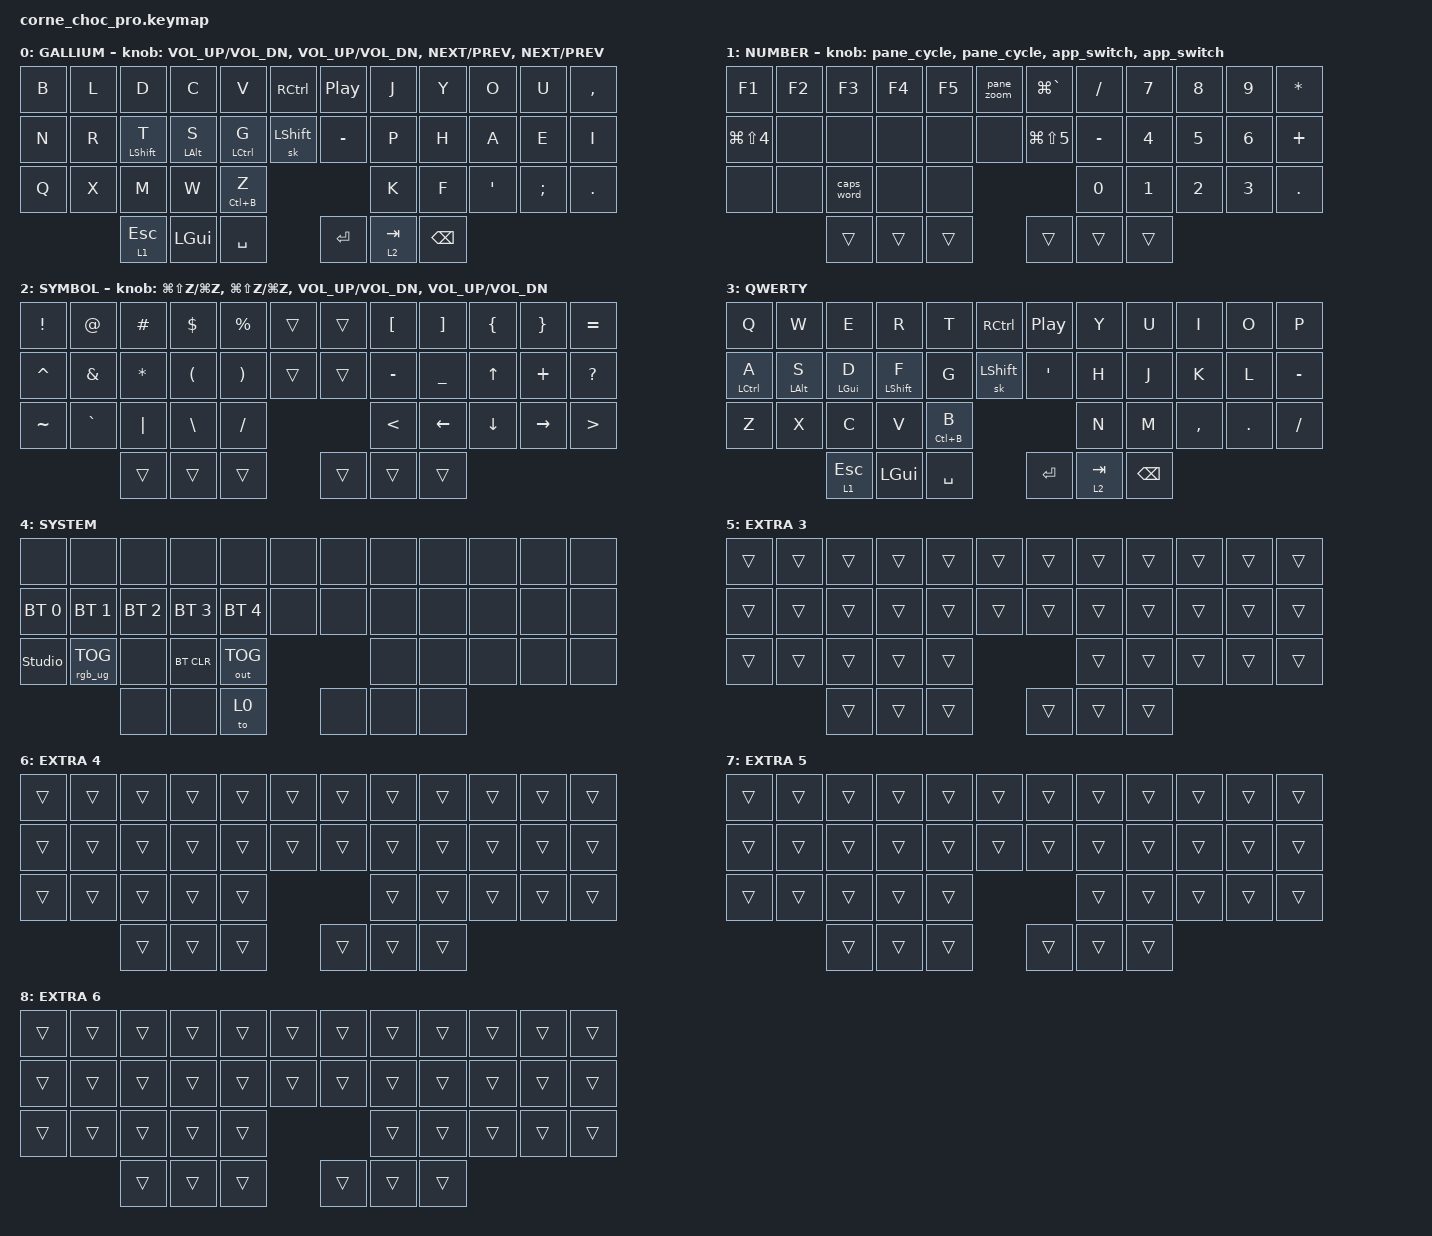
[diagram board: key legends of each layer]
/*
 * Copyright (c) 2020 The ZMK Contributors
 *
 * SPDX-License-Identifier: MIT
 */

#include <behaviors.dtsi>
#include <dt-bindings/zmk/keys.h>
#include <dt-bindings/zmk/bt.h>
#include <dt-bindings/zmk/rgb.h>
#include <dt-bindings/zmk/outputs.h>

/ {
    chosen {
        zmk,physical-layout = &five_col_layout;
    };
};

/ {
    behaviors {
        // Home-row mods. Tap = the letter, hold = the modifier.
        // require-prior-idle-ms is the anti-misfire setting: mid-word the hold
        // is ignored entirely, so fast typing can't trip a modifier.
        hm: homerow_mods {
            compatible = "zmk,behavior-hold-tap";
            #binding-cells = <2>;
            flavor = "balanced";
            tapping-term-ms = <200>;
            quick-tap-ms = <175>;
            require-prior-idle-ms = <125>;
            bindings = <&kp>, <&kp>;
        };

        // Hold B to send the tmux/herdr prefix. tap-preferred means the hold
        // only fires after the full term even if another key is pressed, so
        // rolling through B while typing stays a plain letter.
        pfx: prefix_hold_tap {
            compatible = "zmk,behavior-hold-tap";
            #binding-cells = <2>;
            flavor = "tap-preferred";
            tapping-term-ms = <250>;
            quick-tap-ms = <175>;
            require-prior-idle-ms = <100>;
            bindings = <&kp>, <&kp>;
        };

        // Entry to the SYSTEM layer is a *hold*, not a chord.
        //
        // Every previous guard here was positional -- pick keys that typing
        // cannot roll -- and every one of them eventually misfired, because the
        // thing actually pressing them was not typing. A hand grabbing the
        // board by its edge, or the board pressed against something in a bag,
        // presses a whole region at once, and no choice of three key positions
        // survives that. require-prior-idle-ms does not help either: a board
        // being picked up has been idle for hours.
        //
        // Time is the guard that region-presses cannot pass. 750ms of sustained
        // hold is not something a grip or a bag does. Both branches are &to,
        // which also sidesteps hold-tap's requirement that both behaviours take
        // exactly one parameter -- and makes the accidental case harmless: a
        // short squeeze lands on &to 0 and just re-asserts the base layer.
        sys: system_hold_tap {
            compatible = "zmk,behavior-hold-tap";
            #binding-cells = <2>;
            flavor = "tap-preferred";
            tapping-term-ms = <750>;
            bindings = <&to>, <&to>;
        };

        // Cmd+Tab app switcher. Presses Cmd on the first detent, pulses Tab on
        // each one after, and releases Cmd on any other key or layer change --
        // which here means letting go of the NUMBER layer commits the switch.
        swapper: swapper {
            compatible = "zmk,behavior-tri-state";
            #binding-cells = <0>;
            bindings = <&kt LGUI>, <&kp TAB>, <&kt LGUI>;
        };

        // Encoder rotations that need something richer than a plain keypress.
        pane_cycle: pane_cycle {
            compatible = "zmk,behavior-sensor-rotate";
            #sensor-binding-cells = <0>;
            bindings = <&pane_next>, <&pane_prev>;
        };

        // Clockwise runs the swapper. Anticlockwise is a bare Shift+Tab, which
        // walks backwards through the switcher because the swapper is already
        // holding Cmd down.
        app_switch: app_switch {
            compatible = "zmk,behavior-sensor-rotate";
            #sensor-binding-cells = <0>;
            bindings = <&swapper>, <&kp LS(TAB)>;
        };
    };

    macros {
        // herdr / tmux pane cycling. The prefix is a *sequence*, not a chord:
        // press Ctrl+B, release, then Tab.
        pane_next: pane_next {
            compatible = "zmk,behavior-macro";
            #binding-cells = <0>;
            bindings = <&kp LC(B)>, <&kp TAB>;
        };

        pane_prev: pane_prev {
            compatible = "zmk,behavior-macro";
            #binding-cells = <0>;
            bindings = <&kp LC(B)>, <&kp LS(TAB)>;
        };

        // prefix + z -- zoom the current pane to fullscreen, press again to
        // restore. Sits on the press of the same dial that cycles panes.
        pane_zoom: pane_zoom {
            compatible = "zmk,behavior-macro";
            #binding-cells = <0>;
            bindings = <&kp LC(B)>, <&kp Z>;
        };
    };

    // Layer latches live on combos rather than on a key inside the layer.
    // This ZMK is pinned to v0.3, which has no layer "locking": a &tog fired
    // while the layer is held sees it already active, flips it off, and then
    // the thumb release turns it off again -- so nothing happens. A combo
    // fires with no layer held, so &tog behaves.
    //
    //   Q + X together  -> latch NUMBER   (same combo again to leave)
    //   ; + . together  -> latch SYMBOL
    //   , + . together  -> switch to QWERTY (P + / in QWERTY terms, since it is
    //                      the same two physical keys; same combo to come back)
    //   N + Q together  -> back to the base layer, unconditionally (panic key)
    combos {
        compatible = "zmk,combos";

        // 150ms, not 40ms. 40ms is inside the noise floor of a deliberate
        // two-key press -- these latches were effectively unfireable, which
        // also meant SYMBOL could be entered by the thumb and then not left,
        // since the same combo is the only way out. Same finger or same hand
        // on every combo here, so nothing in this range can be rolled by
        // accident during typing.
        combo_lock_num {
            timeout-ms = <150>;
            key-positions = <24 25>;
            bindings = <&tog 1>;
        };

        combo_lock_sym {
            timeout-ms = <150>;
            key-positions = <32 33>;
            bindings = <&tog 2>;
        };

        // Panic key. Nothing else in this keymap is an unconditional &to 0, so
        // any latch that would not unlatch meant a power cycle. Left pinky,
        // home row + bottom row: same finger, unrollable, and on the left half
        // so it works with the right half off or unpaired.
        combo_base {
            timeout-ms = <150>;
            key-positions = <12 24>;
            bindings = <&to 0>;
        };

        // Fall back to QWERTY while Gallium is still being learned. Has to be a
        // combo rather than a key parked on NUMBER: layer 3 outranks layer 1, so
        // once QWERTY is on it would shadow any toggle key sitting underneath it
        // and there would be no way back. Combos fire regardless of layer.
        //
        // Top and bottom of the right pinky column -- same finger, so it cannot
        // be rolled by accident, and it mirrors the B + Q bootloader combo on the
        // left. Right half only, which is fine for a layout switch (unlike the
        // bootloader, which deliberately stays reachable with the right half off).
        combo_qwerty {
            timeout-ms = <50>;
            key-positions = <11 33>;
            bindings = <&tog 3>;
        };

        // Entry to SYSTEM, which is where everything that can break
        // connectivity now lives. Hold all three for 750ms; a shorter press is
        // &to 0 and does nothing you would notice.
        //
        // Positions are deliberately *interior* to the left half. The pinky
        // column is the edge a hand grabs when it picks the board up, and the
        // old bootloader combo sat on top and bottom of exactly that column --
        // which is how the board kept ending up in the UF2 bootloader. Nothing
        // here is on it. Left half only, so SYSTEM is still reachable when the
        // right half is off, flat or unpaired -- which is precisely when you
        // need it.
        //
        // W and not Z for the bottom-row key: Z carries the pfx hold-tap, and a
        // 750ms hold on a hold-tap member is asking for a stray Ctrl+B.
        combo_system {
            timeout-ms = <150>;
            require-prior-idle-ms = <250>;
            key-positions = <2 27 35>;
            bindings = <&sys 4 0>;
        };

        // Bootloader is B + Q -- top and bottom of the left pinky column, the
        // same chord as before -- but restricted to SYSTEM. On every other
        // layer it is inert, so the geometry stops mattering: you cannot reach
        // it without holding your way into SYSTEM first. Two deliberate acts,
        // and the second one is only available after the first.
        combo_bootloader {
            timeout-ms = <50>;
            layers = <4>;
            key-positions = <0 24>;
            bindings = <&bootloader>;
        };
    };

    keymap {
        compatible = "zmk,keymap";

        default_layer {
            display-name = "GALLIUM";
            // ---------------------------------------------------------------------------------
            // |  B  |  L  |  D  |  C  |  V  | WISPR |  PLAY  |  J  |  Y  |  O  |  U  |  ,  |
            // |  N  |  R  |  T  |  S  |  G  | STCKY |   -    |  P  |  H  |  A  |  E  |  I  |
            // |  Q  |  X  |  M  |  W  |  Z  |                   K  |  F  |  '  |  ;  |  .  |
            //             | ESC/NUM | CMD | SPACE |     | RET | TAB/SYM | BSPC |
            //
            // Gallium v2, column-stagger variant. Replaces QWERTY because A and P
            // were unreachable with the little fingers -- both now sit on the right
            // hand's strong fingers (A = middle, P = index), on the home row.
            //
            // Modifiers, left hand only so the right hand can stay on the mouse.
            // The pinky and ring columns carry NO holds at all -- that was half the
            // original complaint -- so the three non-Cmd mods share the three
            // strongest fingers, one mod per finger:
            //
            //   T = Shift (middle)   S = Option (index)   G = Ctrl (index inner)
            //   CMD = left thumb, a plain key, no letter involved
            //
            // One mod per finger is what makes Ctrl+Shift and Ctrl+Option chordable
            // at all. The order is deliberately inverted against letter frequency:
            // Ctrl, whose misfire is destructive, sits on G (2%), the rarest letter
            // here; Shift, whose misfire is a visible capital, takes T (9%), the
            // commonest. Ctrl+T works because they are different fingers -- hold G,
            // tap T.
            //
            // Z holds for the Ctrl+B prefix: near-zero frequency, so a safe host.
            bindings = <
                &kp B       &kp L       &kp D        &kp C       &kp V             &kp RCTRL   &kp C_PP    &kp J   &kp Y   &kp O     &kp U    &kp COMMA
                &kp N       &kp R       &hm LSHFT T  &hm LALT S  &hm LCTRL G       &sk LSHFT   &kp MINUS   &kp P   &kp H   &kp A     &kp E    &kp I
                &kp Q       &kp X       &kp M        &kp W       &pfx LC(B) Z                              &kp K   &kp F   &kp SQT   &kp SEMI &kp DOT
                                        &lt 1 ESC    &kp LGUI    &kp SPACE                     &kp RET     &lt 2 TAB   &kp BSPC
            >;
            // Slots: left_ex1, left_ex2, right_ex1, right_ex2. Both slots per
            // half share a binding, so it works whichever socket the encoder
            // is actually soldered into.
            sensor-bindings = <&inc_dec_kp C_VOL_UP C_VOL_DN     // left dial  -> volume
                               &inc_dec_kp C_VOL_UP C_VOL_DN
                               &inc_dec_kp C_NEXT C_PREV         // right dial -> track skip
                               &inc_dec_kp C_NEXT C_PREV>;
        };

        lower_layer {
            display-name = "NUMBER";
            // ---------------------------------------------------------------------------------
            // |  F1 |  F2 |  F3 |  F4 |  F5 | CMD-` | ZOOM |  /  |  7  |  8  |  9  |  *  |
            // |SHOT4|     |     |     |     |       | SHOT5|  -  |  4  |  5  |  6  |  +  |
            // |     |     | CAPS|     |     |                  0  |  1  |  2  |  3  |  .  |
            //
            // Numpad sits under the right hand in the usual 789 / 456 / 123 grid,
            // with the operators on the outer columns. Q + X together latches
            // this layer on so you can let go of the thumb; same combo to leave.
            //
            // The BT profiles, BTCLR, OUT, Studio unlock and the RGB toggle all
            // used to live on this layer's left half. They are on SYSTEM now.
            // Moving them one column inward (the previous fix) shrank the blast
            // radius but left them one thumb-hold from the base layer, and a
            // thumb-hold is not a meaningful barrier in front of a key that can
            // silence the board. The freed positions are &none rather than
            // &trans: a stray press here should do nothing, not fall through to
            // a letter.
            //
            // OUT and BTCLR -- now on SYSTEM -- are the two connectivity escape
            // hatches, both added after a session where the board typed fine
            // over USB, reported itself paired over Bluetooth, and sent
            // nothing. OUT toggles the output endpoint: ZMK persists that
            // preference, so a board left preferring USB goes silent the moment
            // the cable comes out, with
            // nothing in the keymap to switch it back. BTCLR wipes the bond on
            // the *current* profile only, for when a profile is poisoned on
            // both ends -- previously the only recourse was to walk to one of
            // the four unused BT_SEL slots and eventually run out.
            //
            // Dial presses pair with what each dial does on this layer: the left
            // dial finds a pane, its press zooms it; the right dial picks an
            // app, its press walks that app's windows. Both moved with their
            // dials when the two swapped hands.
            //
            // Screenshots sit on the inner columns -- Cmd+Shift+4 for a region
            // (left hand only, so the mouse is free to drag it out) and
            // Cmd+Shift+5 for the capture toolbar. Cmd+Shift+4 keeps the pinky
            // home position it inherited when the BT keys moved out.
            bindings = <
                &kp F1         &kp F2  &kp F3      &kp F4  &kp F5           &pane_zoom        &kp LG(GRAVE)    &kp FSLH  &kp N7    &kp N8    &kp N9    &kp ASTRK
                &kp LG(LS(N4)) &none   &none       &none   &none            &none             &kp LG(LS(N5))   &kp MINUS &kp N4    &kp N5    &kp N6    &kp PLUS
                &none          &none   &caps_word  &none   &none                             &kp N0    &kp N1    &kp N2    &kp N3    &kp DOT
                                             &trans       &trans       &trans                   &trans  &trans    &trans
            >;
            sensor-bindings = <&pane_cycle      // left dial  -> herdr panes
                               &pane_cycle
                               &app_switch      // right dial -> Cmd+Tab
                               &app_switch>;
        };

        raise_layer {
            display-name = "SYMBOL";
            // ---------------------------------------------------------------------------------
            // |  !  |  @  |  #  |  $  |  %  |     |     |  [  |  ]  |  {  |  }  |  =  |
            // |  ^  |  &  |  *  |  (  |  )  |     |     |  -  |  _  |  ^  |  +  |  ?  |
            // |  ~  |  `  | "|" |  \  |  /  |                 <  |  <- |  v  |  -> |  >  |
            //
            // Every symbol lives on the left half. The right hand gets an
            // inverted-T of arrows -- described by position rather than by
            // letter, so it survives the next layout change: UP is the right
            // hand's middle-finger home key, with LEFT / DOWN / RIGHT on the
            // three bottom-row keys under it. Navigation without leaving home.
            //
            // ; + . together latches this layer, mirroring Q + X on NUMBER.
            //
            // "/" lives here rather than on the base layer: Gallium has no
            // base-layer slot for it, and keeping the alphas canonical means
            // any typing trainer matches the board. "?" takes the right pinky
            // home key, which was a second ";" -- redundant, since ";" already
            // has a base-layer slot. Without it "?" needed sticky shift plus
            // this layer plus "/", three presses across both halves.
            bindings = <
                &kp EXCL  &kp AT    &kp HASH  &kp DLLR  &kp PRCNT  &trans     &trans  &kp LBKT  &kp RBKT  &kp LBRC  &kp RBRC   &kp EQUAL
                &kp CARET &kp AMPS  &kp ASTRK &kp LPAR  &kp RPAR   &trans     &trans  &kp MINUS &kp UNDER &kp UP    &kp PLUS   &kp QMARK
                &kp TILDE &kp GRAVE &kp PIPE  &kp BSLH  &kp FSLH                     &kp LT    &kp LEFT  &kp DOWN  &kp RIGHT  &kp GT
                                    &trans    &trans    &trans             &trans  &trans    &trans
            >;
            sensor-bindings = <&inc_dec_kp LG(LS(Z)) LG(Z)   // left dial -> redo / undo
                               &inc_dec_kp LG(LS(Z)) LG(Z)
                               &inc_dec_kp C_VOL_UP C_VOL_DN
                               &inc_dec_kp C_VOL_UP C_VOL_DN>;
        };

        // The old QWERTY layer, kept live for as long as Gallium is still being
        // learned -- and for handing the board to someone else. Reached with the
        // , + . combo (right pinky column, top and bottom); the same combo comes
        // back. Everything except the alphas matches the base layer, so the
        // thumbs, dials, sticky shift and both mod layers behave identically
        // whichever alphabet is live.
        qwerty_layer {
            display-name = "QWERTY";
            bindings = <
                &kp Q       &kp W       &kp E       &kp R        &kp T           &kp RCTRL   &kp C_PP   &kp Y   &kp U   &kp I     &kp O   &kp P
                &hm LCTRL A &hm LALT S  &hm LGUI D  &hm LSHFT F  &kp G           &sk LSHFT   &kp SQT    &kp H   &kp J   &kp K     &kp L   &kp MINUS
                &kp Z       &kp X       &kp C       &kp V        &pfx LC(B) B                           &kp N   &kp M   &kp COMMA &kp DOT &kp FSLH
                                        &lt 1 ESC   &kp LGUI     &kp SPACE                   &kp RET    &lt 2 TAB   &kp BSPC
            >;
        };

        // Everything that can take the keyboard away from you lives here and
        // nowhere else. Reached only by holding D + W + CMD for 750ms; left by
        // the inner left thumb, or by the N + Q panic combo from anywhere.
        //
        // ---------------------------------------------------------------------------------
        // |     |     |     |     |     |     |     |     |     |     |     |     |
        // | BT0 | BT1 | BT2 | BT3 | BT4 |     |     |     |     |     |     |     |
        // |UNLCK| RGB |     |BTCLR| OUT |                 |     |     |     |     |
        //             |     |     |BASE |     |     |     |     |
        //
        // The left half carries all of it, on purpose: the moment you need this
        // layer is the moment the right half may be off, flat or unpaired, and
        // a recovery key you cannot reach is not a recovery key.
        //
        // BT profiles run along the home row, one tap each, because walking the
        // five slots is the single most common thing you come here to do.
        // BTCLR and OUT keep the bottom-row positions they had on NUMBER, so
        // the muscle memory built up over the last two lockouts still works.
        //
        // &bootloader is deliberately not a key. It is combo_bootloader
        // (B + Q), gated to this layer -- so reaching it is a hold, then a
        // chord, and neither happens by accident.
        //
        // Every unused position is &none. On a layer where a single tap can
        // flip the output endpoint, a key that does nothing is worth more than
        // a key that falls through to a letter.
        system_layer {
            display-name = "SYSTEM";
            bindings = <
                &none          &none           &none &none      &none        &none  &none  &none &none &none &none &none
                &bt BT_SEL 0   &bt BT_SEL 1    &bt BT_SEL 2 &bt BT_SEL 3 &bt BT_SEL 4 &none &none &none &none &none &none &none
                &studio_unlock &rgb_ug RGB_TOG &none &bt BT_CLR &out OUT_TOG               &none &none &none &none &none
                                               &none &none     &to 0                &none &none &none
            >;
        };

        extra_layer_3 {
            display-name = "EXTRA 3";
            bindings = <
                &trans &trans &trans &trans &trans &trans &trans &trans &trans &trans &trans &trans
                &trans &trans &trans &trans &trans &trans &trans &trans &trans &trans &trans &trans
                &trans &trans &trans &trans &trans               &trans &trans &trans &trans &trans
                              &trans &trans &trans               &trans &trans &trans
            >;
        };

        extra_layer_4 {
            display-name = "EXTRA 4";
            bindings = <
                &trans &trans &trans &trans &trans &trans &trans &trans &trans &trans &trans &trans
                &trans &trans &trans &trans &trans &trans &trans &trans &trans &trans &trans &trans
                &trans &trans &trans &trans &trans               &trans &trans &trans &trans &trans
                              &trans &trans &trans               &trans &trans &trans
            >;
        };

        extra_layer_5 {
            display-name = "EXTRA 5";
            bindings = <
                &trans &trans &trans &trans &trans &trans &trans &trans &trans &trans &trans &trans
                &trans &trans &trans &trans &trans &trans &trans &trans &trans &trans &trans &trans
                &trans &trans &trans &trans &trans               &trans &trans &trans &trans &trans
                              &trans &trans &trans               &trans &trans &trans
            >;
        };

        extra_layer_6 {
            display-name = "EXTRA 6";
            bindings = <
                &trans &trans &trans &trans &trans &trans &trans &trans &trans &trans &trans &trans
                &trans &trans &trans &trans &trans &trans &trans &trans &trans &trans &trans &trans
                &trans &trans &trans &trans &trans               &trans &trans &trans &trans &trans
                              &trans &trans &trans               &trans &trans &trans
            >;
        };
    };
};
